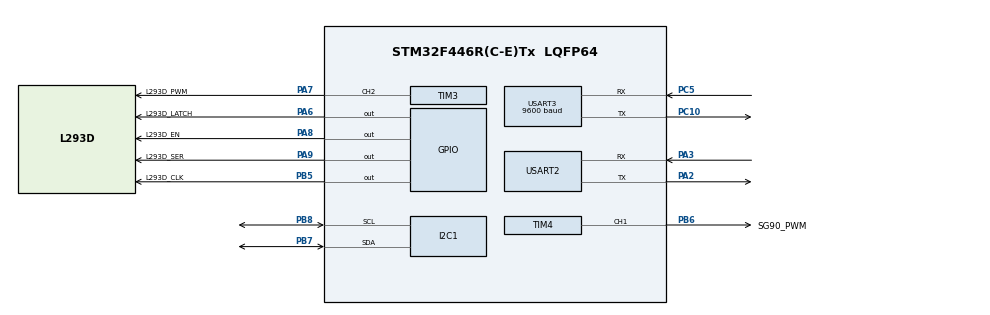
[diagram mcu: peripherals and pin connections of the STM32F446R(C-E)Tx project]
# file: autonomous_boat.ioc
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Mcu.Family=STM32F4
TIM4.Channel-PWM\ Generation1\ CH1=TIM_CHANNEL_1
VP_TIM5_VS_ClockSourceINT.Mode=Internal
RCC.CortexFreq_Value=16000000
PA9.GPIO_Label=L293D_SER
PC10.Signal=USART3_TX
PC10.Mode=Asynchronous
PA6.GPIO_Label=L293D_LATCH
PB6.GPIO_Label=SG90_PWM
PC5.Mode=Asynchronous
TIM5.ClockDivision=TIM_CLOCKDIVISION_DIV4
TIM5.AutoReloadPreload=TIM_AUTORELOAD_PRELOAD_ENABLE
ProjectManager.StackSize=0x400
PA3.Mode=Asynchronous
SH.S_TIM2_CH2.0=TIM2_CH2
PA8.GPIO_Label=L293D_EN
USART3.BaudRate=9600
ProjectManager.TargetToolchain=STM32CubeIDE
NVIC.TIM5_IRQn=true\:0\:0\:false\:false\:true\:true\:true
TIM3.Period=2000
PA9.Signal=GPIO_Output
PB6.Signal=S_TIM4_CH1
RCC.USBFreq_Value=96000000
TIM4.Prescaler=160-1
TIM3.ClockDivision=TIM_CLOCKDIVISION_DIV4
SH.S_TIM3_CH2.0=TIM3_CH2,PWM Generation2 CH2
board=custom
RCC.VCOOutputFreq_Value=192000000
VP_TIM2_VS_ClockSourceINT.Mode=Internal
PB7.Signal=I2C1_SDA
PA8.Signal=GPIO_Output
TIM2.Period=2000-1
TIM4.Period=2000-1
Mcu.Name=STM32F446R(C-E)Tx
PA2.Signal=USART2_TX
PB3.Signal=S_TIM2_CH2
Mcu.Package=LQFP64
PB5.Signal=GPIO_Output
TIM2.Prescaler=160-1
PA6.Signal=GPIO_Output
PA7.GPIO_Label=L293D_PWM
TIM5.Prescaler=100-1
USART2.VirtualMode=VM_ASYNC
USART3.VirtualMode=VM_ASYNC
PB7.Mode=I2C
ProjectManager.HeapSize=0x200
NVIC.PriorityGroup=NVIC_PRIORITYGROUP_4
TIM3.Channel-PWM\ Generation2\ CH2=TIM_CHANNEL_2
PB5.GPIO_Label=L293D_CLK
PB8.Mode=I2C
SH.S_TIM4_CH1.0=TIM4_CH1,PWM Generation1 CH1
PA2.Mode=Asynchronous
PB8.Signal=I2C1_SCL
TIM5.Period=8000-1
PC5.Signal=USART3_RX
VP_TIM3_VS_ClockSourceINT.Mode=Internal
PA3.Signal=USART2_RX
PA7.Signal=S_TIM3_CH2

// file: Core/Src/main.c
/* USER CODE BEGIN Header */
/**
  ******************************************************************************
  * @file           : main.c
  * @brief          : Main program body
  ******************************************************************************
  * @attention
  *
  * <h2><center>&copy; Copyright (c) 2023 STMicroelectronics.
  * All rights reserved.</center></h2>
  *
  * This software component is licensed by ST under BSD 3-Clause license,
  * the "License"; You may not use this file except in compliance with the
  * License. You may obtain a copy of the License at:
  *                        opensource.org/licenses/BSD-3-Clause
  *
  ******************************************************************************
  */
/* USER CODE END Header */
#include "main.h"
#include "cmsis_os.h"

/* USER CODE BEGIN Includes */
#include <stdio.h>
#include <stdlib.h>
#include "Services/location_service.h"
#include "Services/compass_service.h"
#include "Services/control_service.h"
/* USER CODE END Includes */

/* USER CODE BEGIN PTD */
typedef struct {
	location_t masterLocation;
	float compassAngle;
  float arrivalAngle;
  bool isInDestiny;
  device_t b3;
} boat_properties_t;
/* USER CODE END PTD */

I2C_HandleTypeDef hi2c1;

TIM_HandleTypeDef htim2;
TIM_HandleTypeDef htim3;
TIM_HandleTypeDef htim4;
TIM_HandleTypeDef htim5;

UART_HandleTypeDef huart2;
UART_HandleTypeDef huart3;
DMA_HandleTypeDef hdma_usart3_rx;

osThreadId defaultTaskHandle;
osThreadId locationTaskHandle;
osThreadId compassTaskHandle;
osThreadId controlTaskHandle;
/* USER CODE BEGIN PV */
osPoolDef(object_pool, 1, boat_properties_t);  // Declare memory pool
osPoolId (object_pool_id); // Memory pool ID
boat_properties_t *object_data;
/* USER CODE END PV */

void SystemClock_Config(void);
static void MX_GPIO_Init(void);
static void MX_DMA_Init(void);
static void MX_TIM3_Init(void);
static void MX_TIM2_Init(void);
static void MX_I2C1_Init(void);
static void MX_USART2_UART_Init(void);
static void MX_USART3_UART_Init(void);
static void MX_TIM5_Init(void);
static void MX_TIM4_Init(void);
void StartDefaultTask(void const * argument);
void StartLocationTask(void const * argument);
void StartCompassTask(void const * argument);
void StartControlTask(void const * argument);

/* USER CODE BEGIN PFP */
#ifdef __GNUC__
#define PUTCHAR_PROTOTYPE int __io_putchar(int ch)
#else
#define PUTCHAR_PROTOTYPE int fputc(int ch, FILE *f)
#endif

PUTCHAR_PROTOTYPE
{
  HAL_UART_Transmit(&huart2, (uint8_t *)&ch, 1, HAL_MAX_DELAY);
  return ch;
}
/* USER CODE END PFP */

int main(void)
{

  /* MCU Configuration--------------------------------------------------------*/

  /* Reset of all peripherals, Initializes the Flash interface and the Systick. */
  HAL_Init();

  /* Configure the system clock */
  SystemClock_Config();

  /* Initialize all configured peripherals */
  MX_GPIO_Init();
  MX_DMA_Init();
  MX_TIM3_Init();
  MX_TIM2_Init();
  MX_I2C1_Init();
  MX_USART2_UART_Init();
  MX_USART3_UART_Init();
  MX_TIM5_Init();
  MX_TIM4_Init();

  /* USER CODE BEGIN RTOS_QUEUES */
  /* add queues, ... */
  object_pool_id = osPoolCreate(osPool(object_pool));
  object_data = (boat_properties_t *) osPoolAlloc(object_pool_id);
  /* USER CODE END RTOS_QUEUES */

  /* Create the thread(s) */
  /* definition and creation of defaultTask */
  osThreadDef(defaultTask, StartDefaultTask, osPriorityNormal, 0, 128);
  defaultTaskHandle = osThreadCreate(osThread(defaultTask), NULL);

  /* definition and creation of locationTask */
  osThreadDef(locationTask, StartLocationTask, osPriorityNormal, 0, 2048);
  locationTaskHandle = osThreadCreate(osThread(locationTask), NULL);

  /* definition and creation of compassTask */
  osThreadDef(compassTask, StartCompassTask, osPriorityNormal, 0, 128);
  compassTaskHandle = osThreadCreate(osThread(compassTask), NULL);

  /* definition and creation of controlTask */
  osThreadDef(controlTask, StartControlTask, osPriorityNormal, 0, 128);
  controlTaskHandle = osThreadCreate(osThread(controlTask), NULL);

  /* Start scheduler */
  osKernelStart();

  /* We should never get here as control is now taken by the scheduler */
  /* Infinite loop */
  while (1)
  {

  }
}

void SystemClock_Config(void)
{
  RCC_OscInitTypeDef RCC_OscInitStruct = {0};
  RCC_ClkInitTypeDef RCC_ClkInitStruct = {0};

  /** Configure the main internal regulator output voltage
  */
  __HAL_RCC_PWR_CLK_ENABLE();
  __HAL_PWR_VOLTAGESCALING_CONFIG(PWR_REGULATOR_VOLTAGE_SCALE3);
  /** Initializes the RCC Oscillators according to the specified parameters
  * in the RCC_OscInitTypeDef structure.
  */
  RCC_OscInitStruct.OscillatorType = RCC_OSCILLATORTYPE_HSI;
  RCC_OscInitStruct.HSIState = RCC_HSI_ON;
  RCC_OscInitStruct.HSICalibrationValue = RCC_HSICALIBRATION_DEFAULT;
  RCC_OscInitStruct.PLL.PLLState = RCC_PLL_NONE;
  if (HAL_RCC_OscConfig(&RCC_OscInitStruct) != HAL_OK)
  {
    Error_Handler();
  }
  /** Initializes the CPU, AHB and APB buses clocks
  */
  RCC_ClkInitStruct.ClockType = RCC_CLOCKTYPE_HCLK|RCC_CLOCKTYPE_SYSCLK
                              |RCC_CLOCKTYPE_PCLK1|RCC_CLOCKTYPE_PCLK2;
  RCC_ClkInitStruct.SYSCLKSource = RCC_SYSCLKSOURCE_HSI;
  RCC_ClkInitStruct.AHBCLKDivider = RCC_SYSCLK_DIV1;
  RCC_ClkInitStruct.APB1CLKDivider = RCC_HCLK_DIV1;
  RCC_ClkInitStruct.APB2CLKDivider = RCC_HCLK_DIV1;

  if (HAL_RCC_ClockConfig(&RCC_ClkInitStruct, FLASH_LATENCY_0) != HAL_OK)
  {
    Error_Handler();
  }
}

static void MX_I2C1_Init(void)
{

  hi2c1.Instance = I2C1;
  hi2c1.Init.ClockSpeed = 100000;
  hi2c1.Init.DutyCycle = I2C_DUTYCYCLE_2;
  hi2c1.Init.OwnAddress1 = 0;
  hi2c1.Init.AddressingMode = I2C_ADDRESSINGMODE_7BIT;
  hi2c1.Init.DualAddressMode = I2C_DUALADDRESS_DISABLE;
  hi2c1.Init.OwnAddress2 = 0;
  hi2c1.Init.GeneralCallMode = I2C_GENERALCALL_DISABLE;
  hi2c1.Init.NoStretchMode = I2C_NOSTRETCH_DISABLE;
  if (HAL_I2C_Init(&hi2c1) != HAL_OK)
  {
    Error_Handler();
  }

}

static void MX_TIM2_Init(void)
{

  TIM_ClockConfigTypeDef sClockSourceConfig = {0};
  TIM_MasterConfigTypeDef sMasterConfig = {0};

  htim2.Instance = TIM2;
  htim2.Init.Prescaler = 160-1;
  htim2.Init.CounterMode = TIM_COUNTERMODE_UP;
  htim2.Init.Period = 2000-1;
  htim2.Init.ClockDivision = TIM_CLOCKDIVISION_DIV1;
  htim2.Init.AutoReloadPreload = TIM_AUTORELOAD_PRELOAD_DISABLE;
  if (HAL_TIM_Base_Init(&htim2) != HAL_OK)
  {
    Error_Handler();
  }
  sClockSourceConfig.ClockSource = TIM_CLOCKSOURCE_INTERNAL;
  if (HAL_TIM_ConfigClockSource(&htim2, &sClockSourceConfig) != HAL_OK)
  {
    Error_Handler();
  }
  sMasterConfig.MasterOutputTrigger = TIM_TRGO_RESET;
  sMasterConfig.MasterSlaveMode = TIM_MASTERSLAVEMODE_DISABLE;
  if (HAL_TIMEx_MasterConfigSynchronization(&htim2, &sMasterConfig) != HAL_OK)
  {
    Error_Handler();
  }

}

static void MX_TIM3_Init(void)
{

  TIM_ClockConfigTypeDef sClockSourceConfig = {0};
  TIM_MasterConfigTypeDef sMasterConfig = {0};
  TIM_OC_InitTypeDef sConfigOC = {0};

  htim3.Instance = TIM3;
  htim3.Init.Prescaler = 0;
  htim3.Init.CounterMode = TIM_COUNTERMODE_UP;
  htim3.Init.Period = 2000;
  htim3.Init.ClockDivision = TIM_CLOCKDIVISION_DIV4;
  htim3.Init.AutoReloadPreload = TIM_AUTORELOAD_PRELOAD_DISABLE;
  if (HAL_TIM_Base_Init(&htim3) != HAL_OK)
  {
    Error_Handler();
  }
  sClockSourceConfig.ClockSource = TIM_CLOCKSOURCE_INTERNAL;
  if (HAL_TIM_ConfigClockSource(&htim3, &sClockSourceConfig) != HAL_OK)
  {
    Error_Handler();
  }
  if (HAL_TIM_PWM_Init(&htim3) != HAL_OK)
  {
    Error_Handler();
  }
  sMasterConfig.MasterOutputTrigger = TIM_TRGO_RESET;
  sMasterConfig.MasterSlaveMode = TIM_MASTERSLAVEMODE_DISABLE;
  if (HAL_TIMEx_MasterConfigSynchronization(&htim3, &sMasterConfig) != HAL_OK)
  {
    Error_Handler();
  }
  sConfigOC.OCMode = TIM_OCMODE_PWM1;
  sConfigOC.Pulse = 0;
  sConfigOC.OCPolarity = TIM_OCPOLARITY_HIGH;
  sConfigOC.OCFastMode = TIM_OCFAST_DISABLE;
  if (HAL_TIM_PWM_ConfigChannel(&htim3, &sConfigOC, TIM_CHANNEL_2) != HAL_OK)
  {
    Error_Handler();
  }
  HAL_TIM_MspPostInit(&htim3);

}

static void MX_TIM4_Init(void)
{

  TIM_MasterConfigTypeDef sMasterConfig = {0};
  TIM_OC_InitTypeDef sConfigOC = {0};

  htim4.Instance = TIM4;
  htim4.Init.Prescaler = 160-1;
  htim4.Init.CounterMode = TIM_COUNTERMODE_UP;
  htim4.Init.Period = 2000-1;
  htim4.Init.ClockDivision = TIM_CLOCKDIVISION_DIV1;
  htim4.Init.AutoReloadPreload = TIM_AUTORELOAD_PRELOAD_DISABLE;
  if (HAL_TIM_PWM_Init(&htim4) != HAL_OK)
  {
    Error_Handler();
  }
  sMasterConfig.MasterOutputTrigger = TIM_TRGO_RESET;
  sMasterConfig.MasterSlaveMode = TIM_MASTERSLAVEMODE_DISABLE;
  if (HAL_TIMEx_MasterConfigSynchronization(&htim4, &sMasterConfig) != HAL_OK)
  {
    Error_Handler();
  }
  sConfigOC.OCMode = TIM_OCMODE_PWM1;
  sConfigOC.Pulse = 0;
  sConfigOC.OCPolarity = TIM_OCPOLARITY_HIGH;
  sConfigOC.OCFastMode = TIM_OCFAST_DISABLE;
  if (HAL_TIM_PWM_ConfigChannel(&htim4, &sConfigOC, TIM_CHANNEL_1) != HAL_OK)
  {
    Error_Handler();
  }
  HAL_TIM_MspPostInit(&htim4);

}

static void MX_TIM5_Init(void)
{

  TIM_ClockConfigTypeDef sClockSourceConfig = {0};
  TIM_MasterConfigTypeDef sMasterConfig = {0};

  htim5.Instance = TIM5;
  htim5.Init.Prescaler = 100-1;
  htim5.Init.CounterMode = TIM_COUNTERMODE_UP;
  htim5.Init.Period = 8000-1;
  htim5.Init.ClockDivision = TIM_CLOCKDIVISION_DIV4;
  htim5.Init.AutoReloadPreload = TIM_AUTORELOAD_PRELOAD_ENABLE;
  if (HAL_TIM_Base_Init(&htim5) != HAL_OK)
  {
    Error_Handler();
  }
  sClockSourceConfig.ClockSource = TIM_CLOCKSOURCE_INTERNAL;
  if (HAL_TIM_ConfigClockSource(&htim5, &sClockSourceConfig) != HAL_OK)
  {
    Error_Handler();
  }
  sMasterConfig.MasterOutputTrigger = TIM_TRGO_RESET;
  sMasterConfig.MasterSlaveMode = TIM_MASTERSLAVEMODE_DISABLE;
  if (HAL_TIMEx_MasterConfigSynchronization(&htim5, &sMasterConfig) != HAL_OK)
  {
    Error_Handler();
  }

}

static void MX_USART2_UART_Init(void)
{

  huart2.Instance = USART2;
  huart2.Init.BaudRate = 115200;
  huart2.Init.WordLength = UART_WORDLENGTH_8B;
  huart2.Init.StopBits = UART_STOPBITS_1;
  huart2.Init.Parity = UART_PARITY_NONE;
  huart2.Init.Mode = UART_MODE_TX_RX;
  huart2.Init.HwFlowCtl = UART_HWCONTROL_NONE;
  huart2.Init.OverSampling = UART_OVERSAMPLING_16;
  if (HAL_UART_Init(&huart2) != HAL_OK)
  {
    Error_Handler();
  }

}

static void MX_USART3_UART_Init(void)
{

  huart3.Instance = USART3;
  huart3.Init.BaudRate = 9600;
  huart3.Init.WordLength = UART_WORDLENGTH_8B;
  huart3.Init.StopBits = UART_STOPBITS_1;
  huart3.Init.Parity = UART_PARITY_NONE;
  huart3.Init.Mode = UART_MODE_TX_RX;
  huart3.Init.HwFlowCtl = UART_HWCONTROL_NONE;
  huart3.Init.OverSampling = UART_OVERSAMPLING_16;
  if (HAL_UART_Init(&huart3) != HAL_OK)
  {
    Error_Handler();
  }

}

static void MX_DMA_Init(void)
{

  /* DMA controller clock enable */
  __HAL_RCC_DMA1_CLK_ENABLE();

  /* DMA interrupt init */
  /* DMA1_Stream1_IRQn interrupt configuration */
  HAL_NVIC_SetPriority(DMA1_Stream1_IRQn, 5, 0);
  HAL_NVIC_EnableIRQ(DMA1_Stream1_IRQn);

}

static void MX_GPIO_Init(void)
{
  GPIO_InitTypeDef GPIO_InitStruct = {0};

  /* GPIO Ports Clock Enable */
  __HAL_RCC_GPIOA_CLK_ENABLE();
  __HAL_RCC_GPIOC_CLK_ENABLE();
  __HAL_RCC_GPIOB_CLK_ENABLE();

  /*Configure GPIO pin Output Level */
  HAL_GPIO_WritePin(GPIOA, L293D_LATCH_Pin|L293D_EN_Pin|L293D_SER_Pin, GPIO_PIN_RESET);

  /*Configure GPIO pin Output Level */
  HAL_GPIO_WritePin(L293D_CLK_GPIO_Port, L293D_CLK_Pin, GPIO_PIN_RESET);

  /*Configure GPIO pins : L293D_LATCH_Pin L293D_EN_Pin L293D_SER_Pin */
  GPIO_InitStruct.Pin = L293D_LATCH_Pin|L293D_EN_Pin|L293D_SER_Pin;
  GPIO_InitStruct.Mode = GPIO_MODE_OUTPUT_PP;
  GPIO_InitStruct.Pull = GPIO_NOPULL;
  GPIO_InitStruct.Speed = GPIO_SPEED_FREQ_LOW;
  HAL_GPIO_Init(GPIOA, &GPIO_InitStruct);

  /*Configure GPIO pin : L293D_CLK_Pin */
  GPIO_InitStruct.Pin = L293D_CLK_Pin;
  GPIO_InitStruct.Mode = GPIO_MODE_OUTPUT_PP;
  GPIO_InitStruct.Pull = GPIO_NOPULL;
  GPIO_InitStruct.Speed = GPIO_SPEED_FREQ_LOW;
  HAL_GPIO_Init(L293D_CLK_GPIO_Port, &GPIO_InitStruct);

}

void StartDefaultTask(void const * argument)
{
  for(;;)
  {
    osDelay(1);
  }
}

void StartLocationTask(void const * argument)
{
  /* USER CODE BEGIN StartLocationTask */
  LocationService_Init(&huart3);

  /* Infinite loop */
  for(;;)
  {
    LocationService_UpdateLocation();
    object_data->masterLocation = LocationService_GetLocation();
    object_data->arrivalAngle = LocationService_GetArrivalAngle();
    object_data->isInDestiny = LocationService_IsInDestiny();
    object_data->b3 = LocationService_B3();
    osDelay(500);
  }
  /* USER CODE END StartLocationTask */
}

void StartCompassTask(void const * argument)
{
  /* USER CODE BEGIN StartCompassTask */
  CompassService_Init(&hi2c1);

  /* Infinite loop */
  for(;;)
  {
    CompassService_UpdateCompassAngle();
    object_data->compassAngle = CompassService_GetCompassAngle();
    osDelay(100);
  }
  /* USER CODE END StartCompassTask */
}

void StartControlTask(void const * argument)
{
  /* USER CODE BEGIN StartControlTask */
  ControlParamsHandleTypeDef handlerControl;
  handlerControl.htimServo = &htim4;
  handlerControl.htimMotor = &htim3;
  handlerControl.periodMotor = 2000;

  ControlService_Init(&handlerControl);

  /* Infinite loop */
  for(;;)
  {
    ControlService_Proportional(&handlerControl, object_data->masterLocation.latitude, object_data->compassAngle, object_data->arrivalAngle, object_data->isInDestiny);
    osDelay(100);
  }
  /* USER CODE END StartControlTask */
}

void Error_Handler(void)
{
  __disable_irq();
  while (1)
  {
  }
}

/************************ (C) COPYRIGHT STMicroelectronics *****END OF FILE****/
